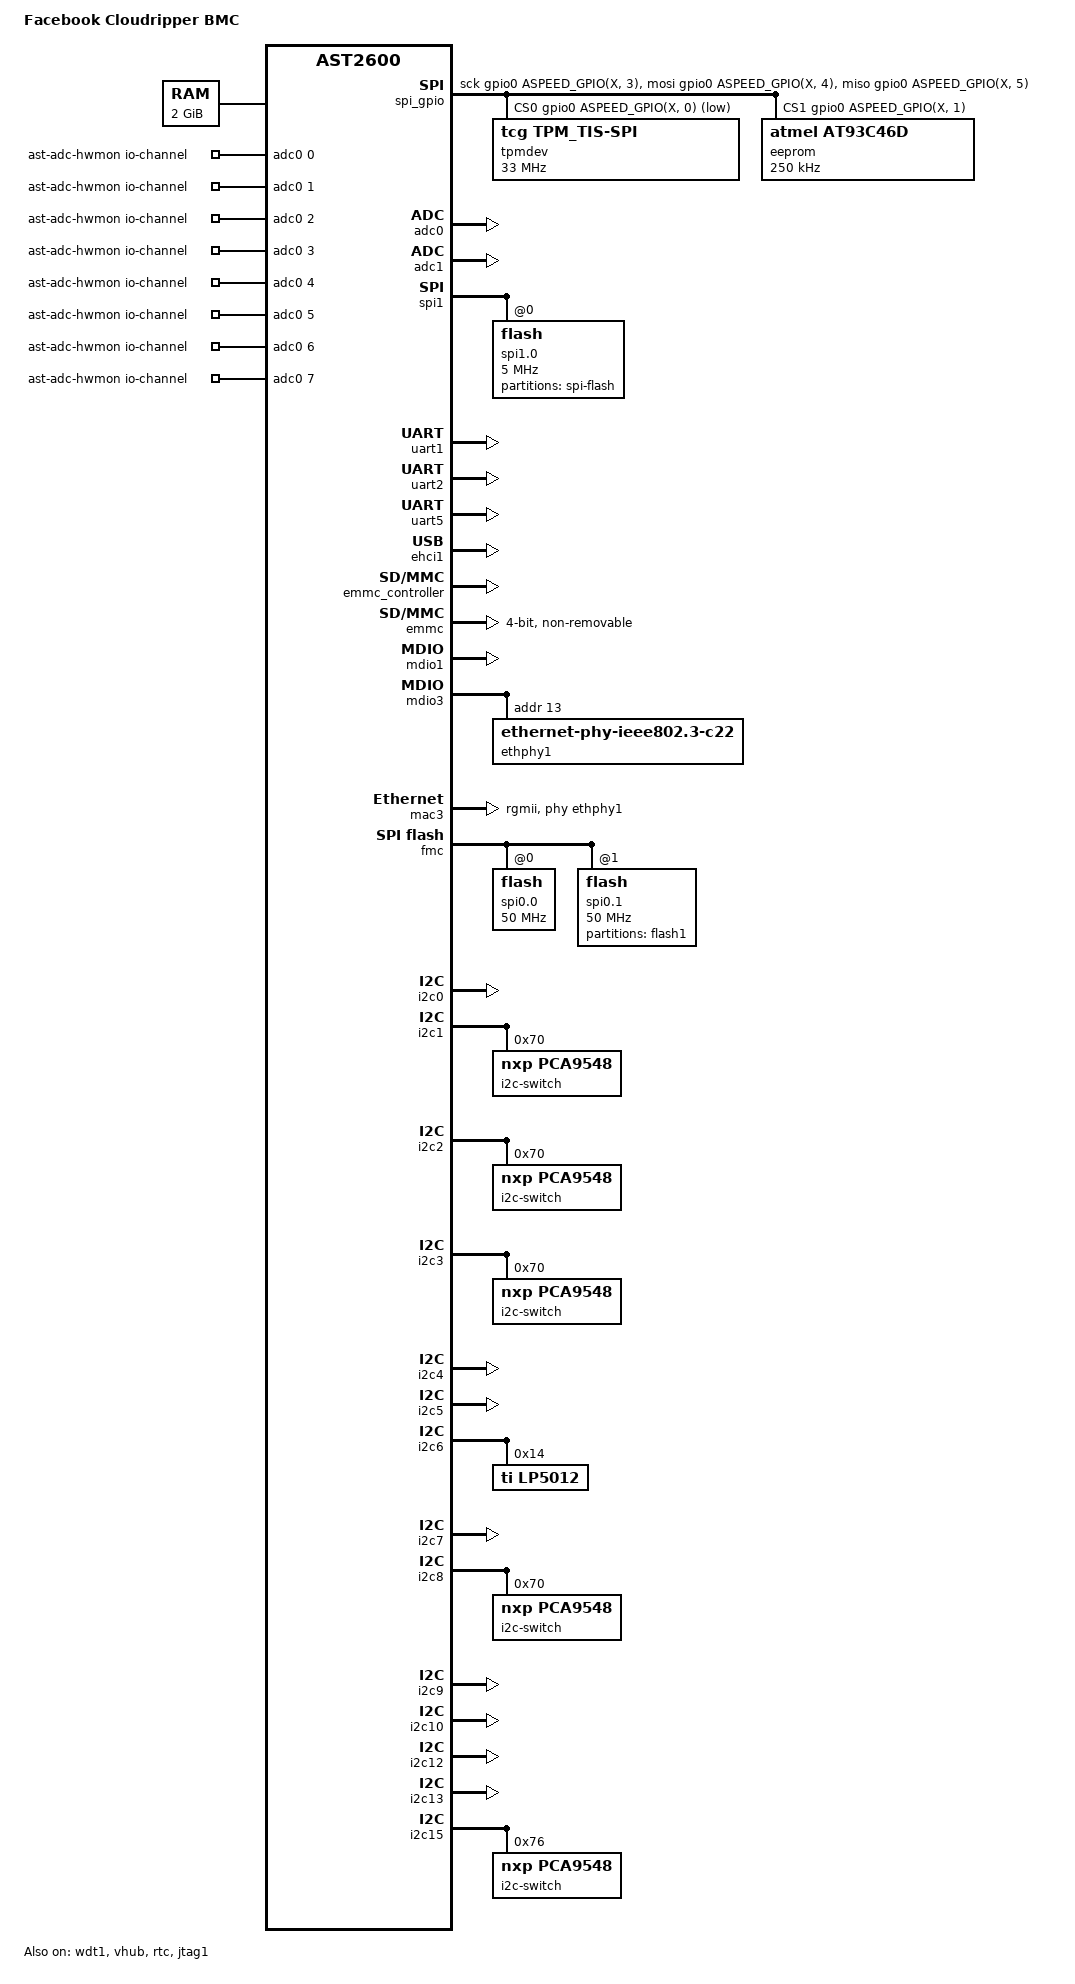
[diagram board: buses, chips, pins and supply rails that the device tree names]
// SPDX-License-Identifier: GPL-2.0-or-later
// Copyright (c) 2020 Facebook Inc.

/dts-v1/;

#include "aspeed-g6.dtsi"
#include <dt-bindings/gpio/aspeed-gpio.h>
#include <dt-bindings/leds/common.h>

/ {
	model = "Facebook Cloudripper BMC";
	compatible = "facebook,cloudripper-bmc", "aspeed,ast2600";

	aliases {
		serial0 = &uart1;

		mmc0 = &emmc;
		spi1 = &spi1;
		spi2 = &spi_gpio;

		/*
		 * PCA9548 (1-0070) provides 8 channels connecting to
		 * SMB (Switch Main Board).
		 */
		i2c16 = &imux16;
		i2c17 = &imux17;
		i2c18 = &imux18;
		i2c19 = &imux19;
		i2c20 = &imux20;
		i2c21 = &imux21;
		i2c22 = &imux22;
		i2c23 = &imux23;

		/*
		 * PCA9548 (2-0070) provides 8 channels connecting to
		 * SCM (System Controller Module).
		 */
		i2c24 = &imux24;
		i2c25 = &imux25;
		i2c26 = &imux26;
		i2c27 = &imux27;
		i2c28 = &imux28;
		i2c29 = &imux29;
		i2c30 = &imux30;
		i2c31 = &imux31;

		/*
		 * PCA9548 (3-0070) provides 8 channels connecting to
		 * SMB (Switch Main Board).
		 */
		i2c32 = &imux32;
		i2c33 = &imux33;
		i2c34 = &imux34;
		i2c35 = &imux35;
		i2c36 = &imux36;
		i2c37 = &imux37;
		i2c38 = &imux38;
		i2c39 = &imux39;

		/*
		 * PCA9548 (8-0070) provides 8 channels connecting to
		 * PDB (Power Delivery Board).
		 */
		i2c40 = &imux40;
		i2c41 = &imux41;
		i2c42 = &imux42;
		i2c43 = &imux43;
		i2c44 = &imux44;
		i2c45 = &imux45;
		i2c46 = &imux46;
		i2c47 = &imux47;

		/*
		 * PCA9548 (15-0076) provides 8 channels connecting to
		 * FCM (Fan Controller Module).
		 */
		i2c48 = &imux48;
		i2c49 = &imux49;
		i2c50 = &imux50;
		i2c51 = &imux51;
		i2c52 = &imux52;
		i2c53 = &imux53;
		i2c54 = &imux54;
		i2c55 = &imux55;
	};

	chosen {
		bootargs = "console=ttyS0,9600n8 root=/dev/ram rw vmalloc=640M";
	};

	memory@80000000 {
		device_type = "memory";
		reg = <0x80000000 0x80000000>;
	};

	spi_gpio: spi-gpio {
		status = "okay";
		compatible = "spi-gpio";
		#address-cells = <1>;
		#size-cells = <0>;

		gpio-sck = <&gpio0 ASPEED_GPIO(X, 3) GPIO_ACTIVE_HIGH>;
		gpio-mosi = <&gpio0 ASPEED_GPIO(X, 4) GPIO_ACTIVE_HIGH>;
		gpio-miso = <&gpio0 ASPEED_GPIO(X, 5) GPIO_ACTIVE_HIGH>;

		num-chipselects = <3>;
		cs-gpios = <&gpio0 ASPEED_GPIO(X, 0) GPIO_ACTIVE_LOW>, <&gpio0 ASPEED_GPIO(X, 1) GPIO_ACTIVE_HIGH>, <0>;

		tpmdev@0 {
			compatible = "tcg,tpm_tis-spi";
			spi-max-frequency = <33000000>;
			reg = <0>;
		};

		eeprom@1 {
			compatible = "atmel,at93c46d";
			data-size = <16>;
			spi-cs-high;
			/* According HW SI, max freq should be no more than 250khz */
			spi-max-frequency = <250000>;
			reg = <1>;
		};
	};

	ast-adc-hwmon {
		compatible = "iio-hwmon";
		io-channels = <&adc0 0>, <&adc0 1>, <&adc0 2>, <&adc0 3>,
				<&adc0 4>, <&adc0 5>, <&adc0 6>, <&adc0 7>,
				<&adc1 0>, <&adc1 1>, <&adc1 2>, <&adc1 3>,
				<&adc1 4>, <&adc1 5>, <&adc1 6>, <&adc1 7>;
	};
};

&adc0 {
	ref_voltage = <2500>;
	status = "okay";

	pinctrl-0 = <&pinctrl_adc0_default &pinctrl_adc1_default
				 &pinctrl_adc2_default &pinctrl_adc3_default
				 &pinctrl_adc4_default &pinctrl_adc5_default
				 &pinctrl_adc6_default &pinctrl_adc7_default>;
};

&adc1 {
	ref_voltage = <2500>;
	status = "okay";

	pinctrl-0 = <&pinctrl_adc8_default &pinctrl_adc9_default
				 &pinctrl_adc10_default &pinctrl_adc11_default
				 &pinctrl_adc12_default &pinctrl_adc13_default
				 &pinctrl_adc14_default &pinctrl_adc15_default>;
};

&spi1 {
	status = "okay";

	/* Given Cloudripper max flash size is 16MB, overwrite reg resource size to
	 * save memory and avoid vmap allocation issue
	 */
	reg = < 0x1e630000 0xc4
		0x30000000 0x1000000 >;

	flash@0 {
		status = "okay";
		m25p,fast-read;
		label = "spi1.0";
		/* SPI bus width 1 */
		spi-bus-width = <1>;
		spi-max-frequency = <5000000>;

		partitions {
			compatible = "fixed-partitions";
			#address-cells = <1>;
			#size-cells = <1>;

			flash1@0 {
				reg = <0x0 0x1000000>;
				label = "spi-flash";
			};
		};
	};
};

&uart1 {
	status = "okay";
};

&uart2 {
	status = "okay";
};

&uart5 {
	status = "okay";
};

&wdt1 {
	status = "okay";
};

&vhub {
	status = "okay";
};

&ehci1 {
	status = "okay";
};

&emmc_controller {
	status = "okay";
};

&emmc {
	status = "okay";

	non-removable;
	max-frequency = <25000000>;
	/* AST2600 A0 only support PIO mode */
	// sdhci-caps-mask = <0x0 0x580000>;
	bus-width = <4>;
	clock-phase = <0x10>;
};

&mdio1 {
	status = "okay";
};

&mdio3 {
	status = "okay";

	ethphy1: ethernet-phy@13 {
		compatible = "ethernet-phy-ieee802.3-c22";
		reg = <0x0d>;
	};
};

&mac3 {
	status = "okay";

	phy-mode = "rgmii";
	phy-handle = <&ethphy1>;

	pinctrl-names = "default";
	pinctrl-0 = <&pinctrl_rgmii4_default>;
};

&rtc {
	status = "okay";
};

&fmc {
	status = "okay";
	flash@0 {
		status = "okay";
		m25p,fast-read;
		label = "spi0.0";
		spi-max-frequency = <50000000>;

#include "facebook-bmc-flash-layout-128.dtsi"
	};

	flash@1 {
		status = "okay";
		m25p,fast-read;
		label = "spi0.1";
		spi-max-frequency = <50000000>;

		partitions {
			compatible = "fixed-partitions";
			#address-cells = <1>;
			#size-cells = <1>;

			flash1@0 {
				reg = <0x0 0x8000000>;
				label = "flash1";
			};
		};
	};
};

&i2c0 {
	status = "okay";
	multi-master;
	bus-frequency = <1000000>;
	aspeed,hw-timeout-ms = <1000>;
};

&i2c1 {
	status = "okay";

	i2c-switch@70 {
		compatible = "nxp,pca9548";
		#address-cells = <1>;
		#size-cells = <0>;
		reg = <0x70>;
		i2c-mux-idle-disconnect;

		imux16: i2c@0 {
			#address-cells = <1>;
			#size-cells = <0>;
			reg = <0>;
		};

		imux17: i2c@1 {
			#address-cells = <1>;
			#size-cells = <0>;
			reg = <1>;
		};

		imux18: i2c@2 {
			#address-cells = <1>;
			#size-cells = <0>;
			reg = <2>;
		};

		imux19: i2c@3 {
			#address-cells = <1>;
			#size-cells = <0>;
			reg = <3>;
		};

		imux20: i2c@4 {
			#address-cells = <1>;
			#size-cells = <0>;
			reg = <4>;
		};

		imux21: i2c@5 {
			#address-cells = <1>;
			#size-cells = <0>;
			reg = <5>;
		};

		imux22: i2c@6 {
			#address-cells = <1>;
			#size-cells = <0>;
			reg = <6>;
		};

		imux23: i2c@7 {
			#address-cells = <1>;
			#size-cells = <0>;
			reg = <7>;
		};
	};
};

&i2c2 {
	status = "okay";

	i2c-switch@70 {
		compatible = "nxp,pca9548";
		#address-cells = <1>;
		#size-cells = <0>;
		reg = <0x70>;
		i2c-mux-idle-disconnect;

		imux24: i2c@0 {
			#address-cells = <1>;
			#size-cells = <0>;
			reg = <0>;
		};

		imux25: i2c@1 {
			#address-cells = <1>;
			#size-cells = <0>;
			reg = <1>;
		};

		imux26: i2c@2 {
			#address-cells = <1>;
			#size-cells = <0>;
			reg = <2>;
		};

		imux27: i2c@3 {
			#address-cells = <1>;
			#size-cells = <0>;
			reg = <3>;
		};

		imux28: i2c@4 {
			#address-cells = <1>;
			#size-cells = <0>;
			reg = <4>;
		};

		imux29: i2c@5 {
			#address-cells = <1>;
			#size-cells = <0>;
			reg = <5>;
		};

		imux30: i2c@6 {
			#address-cells = <1>;
			#size-cells = <0>;
			reg = <6>;
		};

		imux31: i2c@7 {
			#address-cells = <1>;
			#size-cells = <0>;
			reg = <7>;
		};
	};
};

&i2c3 {
	status = "okay";

	i2c-switch@70 {
		compatible = "nxp,pca9548";
		#address-cells = <1>;
		#size-cells = <0>;
		reg = <0x70>;
		i2c-mux-idle-disconnect;

		imux32: i2c@0 {
			#address-cells = <1>;
			#size-cells = <0>;
			reg = <0>;
		};

		imux33: i2c@1 {
			#address-cells = <1>;
			#size-cells = <0>;
			reg = <1>;
		};

		imux34: i2c@2 {
			#address-cells = <1>;
			#size-cells = <0>;
			reg = <2>;
		};

		imux35: i2c@3 {
			#address-cells = <1>;
			#size-cells = <0>;
			reg = <3>;
		};

		imux36: i2c@4 {
			#address-cells = <1>;
			#size-cells = <0>;
			reg = <4>;
		};

		imux37: i2c@5 {
			#address-cells = <1>;
			#size-cells = <0>;
			reg = <5>;
		};

		imux38: i2c@6 {
			#address-cells = <1>;
			#size-cells = <0>;
			reg = <6>;
		};

		imux39: i2c@7 {
			#address-cells = <1>;
			#size-cells = <0>;
			reg = <7>;
		};
	};
};

&i2c4 {
	status = "okay";
};

&i2c5 {
	status = "okay";
};

&i2c6 {
	status = "okay";

	lp5012@14 {
		compatible = "ti,lp5012";
		reg = <0x14>;
		#address-cells = <1>;
		#size-cells = <0>;

		multi-led@0 {
			#address-cells = <1>;
			#size-cells = <0>;
			reg = <0>;
			color = <LED_COLOR_ID_MULTI>;
			function = LED_FUNCTION_ACTIVITY;
			label = "sys";

			led@0 {
				reg = <0>;
				color = <LED_COLOR_ID_RED>;
			};

			led@1 {
				reg = <1>;
				color = <LED_COLOR_ID_BLUE>;
			};

			led@2 {
				reg = <2>;
				color = <LED_COLOR_ID_GREEN>;
			};
		};

		multi-led@1 {
			#address-cells = <1>;
			#size-cells = <0>;
			reg = <1>;
			color = <LED_COLOR_ID_MULTI>;
			function = LED_FUNCTION_ACTIVITY;
			label = "fan";

			led@0 {
				reg = <0>;
				color = <LED_COLOR_ID_RED>;
			};

			led@1 {
				reg = <1>;
				color = <LED_COLOR_ID_BLUE>;
			};

			led@2 {
				reg = <2>;
				color = <LED_COLOR_ID_GREEN>;
			};
		};

		multi-led@2 {
			#address-cells = <1>;
			#size-cells = <0>;
			reg = <2>;
			color = <LED_COLOR_ID_MULTI>;
			function = LED_FUNCTION_ACTIVITY;
			label = "psu";

			led@0 {
				reg = <0>;
				color = <LED_COLOR_ID_RED>;
			};

			led@1 {
				reg = <1>;
				color = <LED_COLOR_ID_BLUE>;
			};

			led@2 {
				reg = <2>;
				color = <LED_COLOR_ID_GREEN>;
			};
		};

		multi-led@3 {
			#address-cells = <1>;
			#size-cells = <0>;
			reg = <3>;
			color = <LED_COLOR_ID_MULTI>;
			function = LED_FUNCTION_ACTIVITY;
			label = "scm";

			led@0 {
				reg = <0>;
				color = <LED_COLOR_ID_RED>;
			};

			led@1 {
				reg = <1>;
				color = <LED_COLOR_ID_BLUE>;
			};

			led@2 {
				reg = <2>;
				color = <LED_COLOR_ID_GREEN>;
			};
		};
	};
};

&i2c7 {
	status = "okay";
};

&i2c8 {
	status = "okay";

	i2c-switch@70 {
		compatible = "nxp,pca9548";
		#address-cells = <1>;
		#size-cells = <0>;
		reg = <0x70>;
		i2c-mux-idle-disconnect;

		imux40: i2c@0 {
			#address-cells = <1>;
			#size-cells = <0>;
			reg = <0>;
		};

		imux41: i2c@1 {
			#address-cells = <1>;
			#size-cells = <0>;
			reg = <1>;
		};

		imux42: i2c@2 {
			#address-cells = <1>;
			#size-cells = <0>;
			reg = <2>;
		};

		imux43: i2c@3 {
			#address-cells = <1>;
			#size-cells = <0>;
			reg = <3>;
		};

		imux44: i2c@4 {
			#address-cells = <1>;
			#size-cells = <0>;
			reg = <4>;
		};

		imux45: i2c@5 {
			#address-cells = <1>;
			#size-cells = <0>;
			reg = <5>;
		};

		imux46: i2c@6 {
			#address-cells = <1>;
			#size-cells = <0>;
			reg = <6>;
		};

		imux47: i2c@7 {
			#address-cells = <1>;
			#size-cells = <0>;
			reg = <7>;
		};

	};
};

&i2c9 {
	status = "okay";
};

&i2c10 {
	status = "okay";
};

&i2c12 {
	status = "okay";
};

&i2c13 {
	status = "okay";
};

&i2c15 {
	status = "okay";

	i2c-switch@76 {
		compatible = "nxp,pca9548";
		#address-cells = <1>;
		#size-cells = <0>;
		reg = <0x76>;
		i2c-mux-idle-disconnect;

		imux48: i2c@0 {
			#address-cells = <1>;
			#size-cells = <0>;
			reg = <0>;
		};

		imux49: i2c@1 {
			#address-cells = <1>;
			#size-cells = <0>;
			reg = <1>;
		};

		imux50: i2c@2 {
			#address-cells = <1>;
			#size-cells = <0>;
			reg = <2>;
		};

		imux51: i2c@3 {
			#address-cells = <1>;
			#size-cells = <0>;
			reg = <3>;
		};

		imux52: i2c@4 {
			#address-cells = <1>;
			#size-cells = <0>;
			reg = <4>;
		};

		imux53: i2c@5 {
			#address-cells = <1>;
			#size-cells = <0>;
			reg = <5>;
		};

		imux54: i2c@6 {
			#address-cells = <1>;
			#size-cells = <0>;
			reg = <6>;
		};

		imux55: i2c@7 {
			#address-cells = <1>;
			#size-cells = <0>;
			reg = <7>;
		};
	};
};

&jtag1 {
	status = "okay";
};
